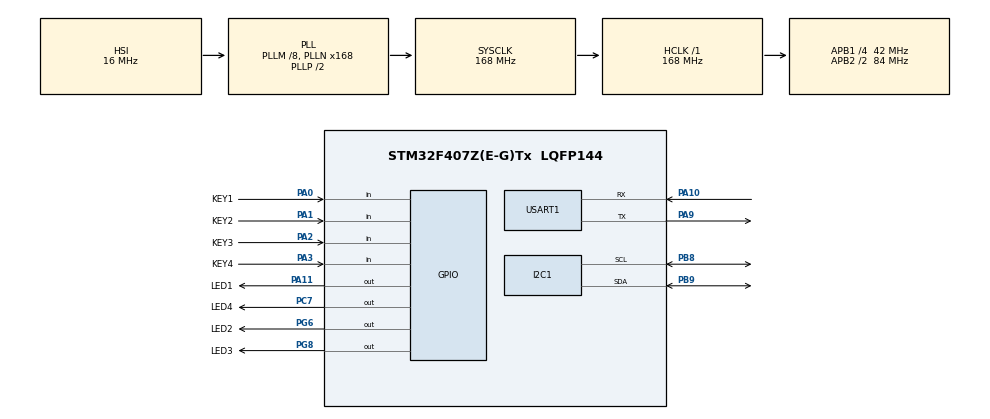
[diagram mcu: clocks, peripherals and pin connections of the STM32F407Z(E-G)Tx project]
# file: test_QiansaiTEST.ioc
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Dma.Request0=USART1_RX
Dma.Request1=USART1_TX
Dma.USART1_RX.0.Direction=DMA_PERIPH_TO_MEMORY
Dma.USART1_RX.0.FIFOMode=DMA_FIFOMODE_DISABLE
Dma.USART1_RX.0.Instance=DMA2_Stream2
Dma.USART1_RX.0.MemDataAlignment=DMA_MDATAALIGN_BYTE
Dma.USART1_RX.0.MemInc=DMA_MINC_ENABLE
Dma.USART1_RX.0.Mode=DMA_NORMAL
Dma.USART1_RX.0.PeriphDataAlignment=DMA_PDATAALIGN_BYTE
Dma.USART1_RX.0.PeriphInc=DMA_PINC_DISABLE
Dma.USART1_RX.0.Priority=DMA_PRIORITY_LOW
Dma.USART1_TX.1.Direction=DMA_MEMORY_TO_PERIPH
Dma.USART1_TX.1.FIFOMode=DMA_FIFOMODE_DISABLE
Dma.USART1_TX.1.Instance=DMA2_Stream7
Dma.USART1_TX.1.MemDataAlignment=DMA_MDATAALIGN_BYTE
Dma.USART1_TX.1.MemInc=DMA_MINC_ENABLE
Dma.USART1_TX.1.Mode=DMA_NORMAL
Dma.USART1_TX.1.PeriphDataAlignment=DMA_PDATAALIGN_BYTE
Dma.USART1_TX.1.PeriphInc=DMA_PINC_DISABLE
Dma.USART1_TX.1.Priority=DMA_PRIORITY_LOW
Mcu.Family=STM32F4
Mcu.Name=STM32F407Z(E-G)Tx
Mcu.Package=LQFP144
NVIC.DMA2_Stream2_IRQn=true\:0\:0\:false\:false\:true\:false\:true\:true
NVIC.DMA2_Stream7_IRQn=true\:0\:0\:false\:false\:true\:false\:true\:true
NVIC.PriorityGroup=NVIC_PRIORITYGROUP_4
NVIC.TIM1_UP_TIM10_IRQn=true\:0\:0\:false\:false\:true\:true\:true\:true
NVIC.USART1_IRQn=true\:0\:0\:false\:false\:true\:true\:true\:true
PA0-WKUP.GPIO_Label=KEY1
PA0-WKUP.GPIO_PuPd=GPIO_PULLDOWN
PA0-WKUP.Signal=GPIO_Input
PA1.GPIO_Label=KEY2
PA1.GPIO_PuPd=GPIO_PULLDOWN
PA1.Signal=GPIO_Input
PA10.Mode=Asynchronous
PA10.Signal=USART1_RX
PA11.GPIO_Label=LED1
PA11.GPIO_PuPd=GPIO_PULLDOWN
PA11.Signal=GPIO_Output
PA13.Mode=Serial_Wire
PA13.Signal=SYS_JTMS-SWDIO
PA14.Mode=Serial_Wire
PA14.Signal=SYS_JTCK-SWCLK
PA2.GPIO_Label=KEY3
PA2.GPIO_PuPd=GPIO_PULLDOWN
PA2.Signal=GPIO_Input
PA3.GPIO_Label=KEY4
PA3.GPIO_PuPd=GPIO_PULLDOWN
PA3.Signal=GPIO_Input
PA9.Mode=Asynchronous
PA9.Signal=USART1_TX
PB8.Mode=I2C
PB8.Signal=I2C1_SCL
PB9.Mode=I2C
PB9.Signal=I2C1_SDA
PC14-OSC32_IN.Mode=LSE-External-Oscillator
PC14-OSC32_IN.Signal=RCC_OSC32_IN
PC15-OSC32_OUT.Mode=LSE-External-Oscillator
PC15-OSC32_OUT.Signal=RCC_OSC32_OUT
PC7.GPIO_Label=LED4
PC7.GPIO_PuPd=GPIO_PULLDOWN
PC7.Signal=GPIO_Output
PG6.GPIO_Label=LED2
PG6.GPIO_PuPd=GPIO_PULLDOWN
PG6.Signal=GPIO_Output
PG8.GPIO_Label=LED3
PG8.GPIO_PuPd=GPIO_PULLDOWN
PG8.Signal=GPIO_Output
PH0-OSC_IN.Mode=HSE-External-Oscillator
PH0-OSC_IN.Signal=RCC_OSC_IN
PH1-OSC_OUT.Mode=HSE-External-Oscillator
PH1-OSC_OUT.Signal=RCC_OSC_OUT
ProjectManager.HeapSize=0x200
ProjectManager.StackSize=0x400
ProjectManager.TargetToolchain=MDK-ARM V5.32
RCC.48MHZClocksFreq_Value=84000000
RCC.AHBFreq_Value=168000000
RCC.APB1CLKDivider=RCC_HCLK_DIV4
RCC.APB1Freq_Value=42000000
RCC.APB1TimFreq_Value=84000000
RCC.APB2CLKDivider=RCC_HCLK_DIV2
RCC.APB2Freq_Value=84000000
RCC.APB2TimFreq_Value=168000000
RCC.CortexFreq_Value=168000000
RCC.HCLKFreq_Value=168000000
RCC.HSE_VALUE=25000000
RCC.HSI_VALUE=16000000
RCC.PLLM=8
RCC.PLLN=168
RCC.SYSCLKFreq_VALUE=168000000
RCC.SYSCLKSource=RCC_SYSCLKSOURCE_PLLCLK
RCC.VCOOutputFreq_Value=336000000
TIM1.AutoReloadPreload=TIM_AUTORELOAD_PRELOAD_ENABLE
TIM1.Period=1000-1
TIM1.Prescaler=168-1
USART1.VirtualMode=VM_ASYNC
VP_TIM1_VS_ClockSourceINT.Mode=Internal
board=custom

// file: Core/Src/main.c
/**
  ******************************************************************************
  * @file           : main.c
  * @brief          : Main program body
  ******************************************************************************
  * @attention
  *
  * Copyright (c) 2025 STMicroelectronics.
  * All rights reserved.
  *
  * This software is licensed under terms that can be found in the LICENSE file
  * in the root directory of this software component.
  * If no LICENSE file comes with this software, it is provided AS-IS.
  *
  ******************************************************************************
  */
/* USER CODE END Header */
#include "main.h"
#include "dma.h"
#include "i2c.h"
#include "tim.h"
#include "usart.h"
#include "gpio.h"

/* USER CODE BEGIN Includes */
#include "OLED.h"
#include "Key.h"
#include "printf.h"

extern uint8_t Read_Buffer[10];
extern uint16_t mycount;
/* USER CODE END Includes */

void SystemClock_Config(void);

int main(void)
{

  /* MCU Configuration--------------------------------------------------------*/

  /* Reset of all peripherals, Initializes the Flash interface and the Systick. */
  HAL_Init();

  /* Configure the system clock */
  SystemClock_Config();

  /* Initialize all configured peripherals */
  MX_GPIO_Init();
  MX_DMA_Init();
  MX_I2C1_Init();
  MX_USART1_UART_Init();
  MX_TIM1_Init();
  /* USER CODE BEGIN 2 */
	OLED_Init();
  LED1_ON();
  LED2_OFF();
  LED3_ON();
  LED4_OFF();
  float count_num = 0.0f;
  HAL_TIM_Base_Start_IT(&htim1);
  HAL_UARTEx_ReceiveToIdle_DMA(&huart1, Read_Buffer, sizeof(Read_Buffer));
  // 关闭DMA传输过半中断（HAL库默认开启，但我们只需要接收完成中断）
  __HAL_DMA_DISABLE_IT(huart1.hdmarx, DMA_IT_HT);
  /* USER CODE END 2 */

  /* Infinite loop */
  /* USER CODE BEGIN WHILE */
  while (1)
  {
    OLED_ShowString(0,0,"ST PinCeTi",OLED_8X16);
    uint8_t Key_count = Key_GetNum();
    if (Key_count == 1){
      LED1_OFF();
      LED2_OFF();
      LED3_OFF();
      LED4_OFF();
      HAL_Delay(1000);
      LED1_ON();
      HAL_Delay(200);
      LED2_ON();
      HAL_Delay(200);
      LED3_ON();
      HAL_Delay(200);
      LED4_ON();
    }
    if (Key_count == 2)
    {
      OLED_ShowString(0,40,"FaSonChengGon",OLED_8X16);
      OLED_Update();
      Sguan_SendString("KEY2\n");
    }
    if (Key_count == 3)
    {
      count_num += 0.5f;
      float sensor_data[] = {count_num};
      UART_SendFloats(sensor_data,1,1);
    }
    if (Key_count == 4)
    {
      count_num = count_num - 0.5f;
      float sensor_data[] = {count_num};
      UART_SendFloats(sensor_data,1,1);
    }
    if (mycount == 30000)
    {
      LED1_ON();
      LED2_ON();
      LED3_ON();
      LED4_ON();
    }
    OLED_ShowString(0,20,"AA=",OLED_8X16);
    OLED_ShowFloatNum(25,20,count_num,2,1,OLED_8X16);
    OLED_Update();
    /* USER CODE END WHILE */

  }
}

void SystemClock_Config(void)
{
  RCC_OscInitTypeDef RCC_OscInitStruct = {0};
  RCC_ClkInitTypeDef RCC_ClkInitStruct = {0};

  /** Configure the main internal regulator output voltage
  */
  __HAL_RCC_PWR_CLK_ENABLE();
  __HAL_PWR_VOLTAGESCALING_CONFIG(PWR_REGULATOR_VOLTAGE_SCALE1);

  /** Initializes the RCC Oscillators according to the specified parameters
  * in the RCC_OscInitTypeDef structure.
  */
  RCC_OscInitStruct.OscillatorType = RCC_OSCILLATORTYPE_HSI;
  RCC_OscInitStruct.HSIState = RCC_HSI_ON;
  RCC_OscInitStruct.HSICalibrationValue = RCC_HSICALIBRATION_DEFAULT;
  RCC_OscInitStruct.PLL.PLLState = RCC_PLL_ON;
  RCC_OscInitStruct.PLL.PLLSource = RCC_PLLSOURCE_HSI;
  RCC_OscInitStruct.PLL.PLLM = 8;
  RCC_OscInitStruct.PLL.PLLN = 168;
  RCC_OscInitStruct.PLL.PLLP = RCC_PLLP_DIV2;
  RCC_OscInitStruct.PLL.PLLQ = 4;
  if (HAL_RCC_OscConfig(&RCC_OscInitStruct) != HAL_OK)
  {
    Error_Handler();
  }

  /** Initializes the CPU, AHB and APB buses clocks
  */
  RCC_ClkInitStruct.ClockType = RCC_CLOCKTYPE_HCLK|RCC_CLOCKTYPE_SYSCLK
                              |RCC_CLOCKTYPE_PCLK1|RCC_CLOCKTYPE_PCLK2;
  RCC_ClkInitStruct.SYSCLKSource = RCC_SYSCLKSOURCE_PLLCLK;
  RCC_ClkInitStruct.AHBCLKDivider = RCC_SYSCLK_DIV1;
  RCC_ClkInitStruct.APB1CLKDivider = RCC_HCLK_DIV4;
  RCC_ClkInitStruct.APB2CLKDivider = RCC_HCLK_DIV2;

  if (HAL_RCC_ClockConfig(&RCC_ClkInitStruct, FLASH_LATENCY_5) != HAL_OK)
  {
    Error_Handler();
  }
}

void Error_Handler(void)
{
  __disable_irq();
  while (1)
  {
  }
}
